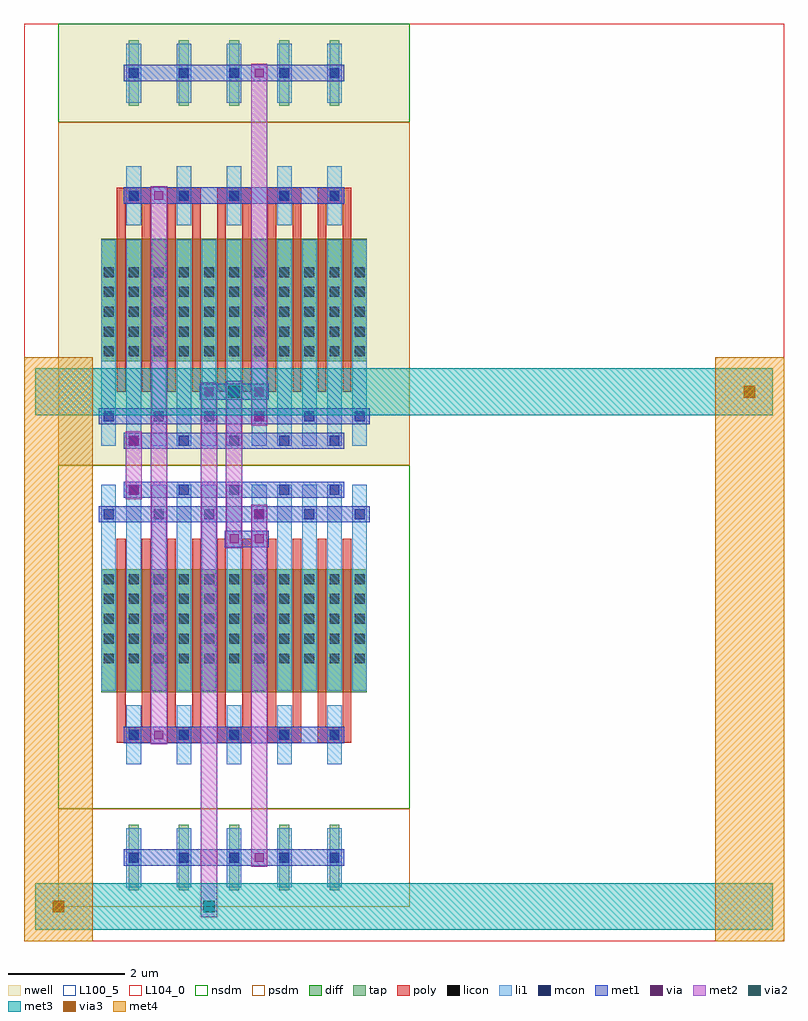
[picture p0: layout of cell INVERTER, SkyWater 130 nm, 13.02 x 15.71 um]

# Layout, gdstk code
import gdstk
lib = gdstk.Library(unit=1e-6, precision=1e-09)
def R(c, l, rs):  # rectangles x0, y0, x1, y1
    for r in rs: c.add(gdstk.rectangle(r[:2], r[2:], *l))
def A(c, l, x, y, w, h, nx, ny, dx, dy):  # array of equal rectangles
    R(c, l, [(x+i*dx, y+j*dy, x+i*dx+w, y+j*dy+h) for i in range(nx) for j in range(ny)])
nwell = (64, 20)
diff = (65, 20)
tap = (65, 44)
poly = (66, 20)
licon = (66, 44)
li1 = (67, 20)
mcon = (67, 44)
met1 = (68, 20)
via = (68, 44)
met2 = (69, 20)
via2 = (69, 44)
met3 = (70, 20)
via3 = (70, 44)
met4 = (71, 20)
nsdm = (93, 44)
psdm = (94, 20)
L100_5 = (100, 5)
L104_0 = (104, 0)

inverter = lib.new_cell('INVERTER')
R(inverter, nwell, [(0,7.56,6.02,15.12)])
R(inverter, diff, [(0.735,3.675,5.285,5.775), (0.735,9.345,5.285,11.445)])
A(inverter, tap, 1.205, 0.28, 0.17, 1.12, 5, 2, 0.86, 13.44)
A(inverter, poly, 1, 2.805, 0.58, 0.27, 5, 2, 0.86, 9.24)
A(inverter, poly, 1, 2.94, 0.15, 3.36, 10, 2, 0.43, 5.88)
A(inverter, licon, 1.205, 0.755, 0.17, 0.17, 5, 2, 0.86, 2.1)
A(inverter, licon, 0.775, 4.165, 0.17, 0.17, 3, 5, 0.43, 0.34)
A(inverter, licon, 1.635, 4.165, 0.17, 0.17, 3, 5, 0.43, 0.34)
A(inverter, licon, 2.495, 4.165, 0.17, 0.17, 3, 5, 0.43, 0.34)
A(inverter, licon, 3.355, 4.165, 0.17, 0.17, 3, 5, 0.43, 0.34)
A(inverter, licon, 4.215, 4.165, 0.17, 0.17, 3, 5, 0.43, 0.34)
A(inverter, licon, 0.775, 9.425, 0.17, 0.17, 3, 5, 0.43, 0.34)
A(inverter, licon, 1.635, 9.425, 0.17, 0.17, 3, 5, 0.43, 0.34)
A(inverter, licon, 2.495, 9.425, 0.17, 0.17, 3, 5, 0.43, 0.34)
A(inverter, licon, 3.355, 9.425, 0.17, 0.17, 3, 5, 0.43, 0.34)
A(inverter, licon, 4.215, 9.425, 0.17, 0.17, 3, 5, 0.43, 0.34)
A(inverter, licon, 1.205, 12.095, 0.17, 0.17, 5, 2, 0.86, 2.1)
A(inverter, li1, 1.165, 0.335, 0.25, 1.01, 5, 2, 0.86, 2.1)
A(inverter, li1, 0.735, 3.695, 0.25, 3.53, 11, 2, 0.43, 4.2)
A(inverter, li1, 1.165, 11.675, 0.25, 1.01, 5, 2, 0.86, 2.1)
A(inverter, mcon, 1.205, 0.755, 0.17, 0.17, 5, 2, 0.86, 2.1)
A(inverter, mcon, 0.775, 6.635, 0.17, 0.17, 6, 2, 0.86, 1.68)
A(inverter, mcon, 1.205, 7.055, 0.17, 0.17, 5, 2, 0.86, 0.84)
A(inverter, mcon, 1.205, 12.095, 0.17, 0.17, 5, 2, 0.86, 2.1)
R(inverter, met1, [(1.12,0.7,4.9,0.98), (1.12,2.8,4.9,3.08), (2.85,6.16,3.6,6.44), (0.69,6.58,5.33,6.86), (1.12,7,4.9,7.28), (1.12,7.84,4.9,8.12), (0.69,8.26,5.33,8.54), (2.42,8.68,3.6,8.96), (1.12,12.04,4.9,12.32), (1.12,14.14,4.9,14.42)])
R(inverter, via, [(3.365,0.765,3.515,0.915), (1.645,2.865,1.795,3.015), (2.935,6.225,3.085,6.375), (3.365,6.225,3.515,6.375), (3.365,6.645,3.515,6.795), (1.215,7.065,1.365,7.215), (1.215,7.905,1.365,8.055), (3.365,8.325,3.515,8.475), (2.505,8.745,2.655,8.895), (3.365,8.745,3.515,8.895), (1.645,12.105,1.795,12.255), (3.365,14.205,3.515,14.355)])
R(inverter, met2, [(2.44,-0.185,2.72,8.98), (3.3,0.68,3.58,6.88), (1.58,2.78,1.86,12.34), (2.87,6.14,3.15,9.005), (1.15,6.98,1.43,8.14), (3.3,8.24,3.58,14.44)])
R(inverter, via2, [(2.48,-0.1,2.68,0.1), (2.91,8.72,3.11,8.92)])
R(inverter, met3, [(-0.4,-0.4,12.24,0.4), (-0.4,8.42,12.24,9.22)])
R(inverter, via3, [(-0.1,-0.1,0.1,0.1), (11.74,8.72,11.94,8.92)])
R(inverter, met4, [(-0.59,-0.59,0.59,9.41), (11.25,-0.59,12.43,9.41)])
R(inverter, nsdm, [(0,1.68,6.02,7.56), (0,13.44,6.02,15.12)])
R(inverter, psdm, [(0,0,6.02,1.68), (0,7.56,6.02,13.44)])
R(inverter, L100_5, [(-0.59,-0.59,12.43,15.12)])
R(inverter, L104_0, [(-0.59,-0.59,12.43,15.12)])

lib.write_gds('INVERTER.gds')
